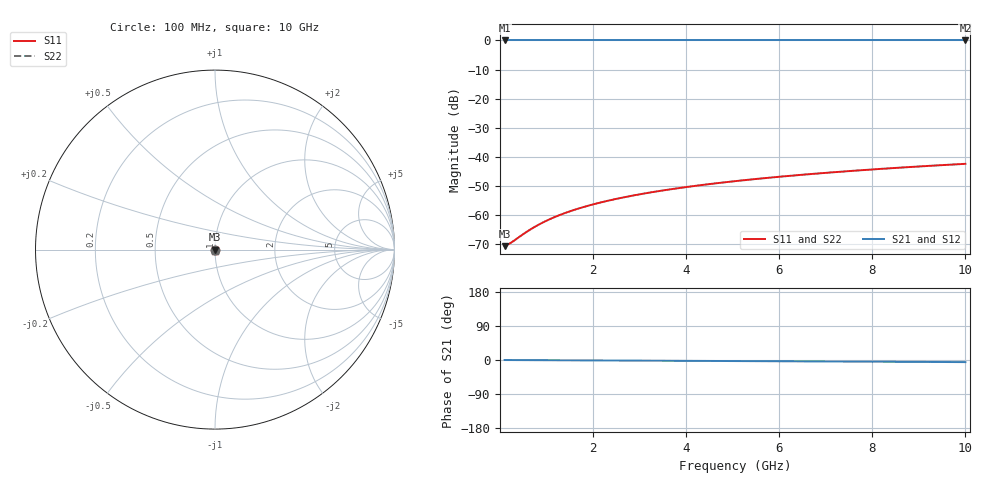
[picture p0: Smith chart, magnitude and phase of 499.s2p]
# Hz S RI R 50.00
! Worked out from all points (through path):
!   100 points, 100 MHz to 10 GHz, reference 50 ohm
!   highest |S21| = 0.00 dB at 100 MHz (marker M1); lowest = 0.0 dB at 10 GHz (marker M2)
!   lowest |S11| = -70.7 dB at 100 MHz (marker M3), VSWR 1.00, Z = 50 - j0.00749 ohm
!   |S11| at or under -10 dB: start of sweep to end of sweep
!   |S22| runs from -70.7 to -42.4 dB; largest |S21 - S12| = 0
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1e8  0.000283 -7.49e-05  0.9997 -0.000966  0.9997 -0.000966  0.000283 -7.49e-05
2e8  0.000284 -0.00015  0.9997 -0.00193  0.9997 -0.00193  0.000284 -0.00015
6e8  0.000284 -0.00045  0.9997 -0.0058  0.9997 -0.0058  0.000284 -0.00045
7e8  0.000283 -0.000525  0.9997 -0.00677  0.9997 -0.00677  0.000283 -0.000525
9e8  0.000281 -0.000675  0.9997 -0.0087  0.9997 -0.0087  0.000281 -0.000675
1.1e9  0.000279 -0.000825  0.9996 -0.0106  0.9996 -0.0106  0.000279 -0.000825
1.3e9  0.000275 -0.000976  0.9996 -0.0126  0.9996 -0.0126  0.000275 -0.000976
1.5e9  0.000271 -0.00113  0.9996 -0.0145  0.9996 -0.0145  0.000271 -0.00113
1.8e9  0.000264 -0.00135  0.9995 -0.0174  0.9995 -0.0174  0.000264 -0.00135
2.1e9  0.000255 -0.00158  0.9995 -0.0203  0.9995 -0.0203  0.000255 -0.00158
2.5e9  0.000242 -0.00188  0.9994 -0.0242  0.9994 -0.0242  0.000242 -0.00188
2.9e9  0.000226 -0.00218  0.9993 -0.0281  0.9993 -0.0281  0.000226 -0.00218
3.4e9  0.000202 -0.00256  0.9991 -0.0329  0.9991 -0.0329  0.000202 -0.00256
3.8e9  0.00018 -0.00287  0.999 -0.0368  0.999 -0.0368  0.00018 -0.00287
4.2e9  0.000156 -0.00317  0.9988 -0.0407  0.9988 -0.0407  0.000156 -0.00317
4.6e9  0.00013 -0.00348  0.9987 -0.0446  0.9987 -0.0446  0.00013 -0.00348
5.1e9  9.3e-05 -0.00386  0.9984 -0.0494  0.9984 -0.0494  9.3e-05 -0.00386
5.9e9  2.66e-05 -0.00447  0.998 -0.0572  0.998 -0.0572  2.66e-05 -0.00447
6.7e9  -4.94e-05 -0.00508  0.9975 -0.065  0.9975 -0.065  -4.94e-05 -0.00508
7.5e9  -0.000135 -0.00569  0.997 -0.0728  0.997 -0.0728  -0.000135 -0.00569
8.4e9  -0.000243 -0.00638  0.9963 -0.0816  0.9963 -0.0816  -0.000243 -0.00638
1e10  -0.000464 -0.00758  0.9948 -0.0973  0.9948 -0.0973  -0.000464 -0.00758
